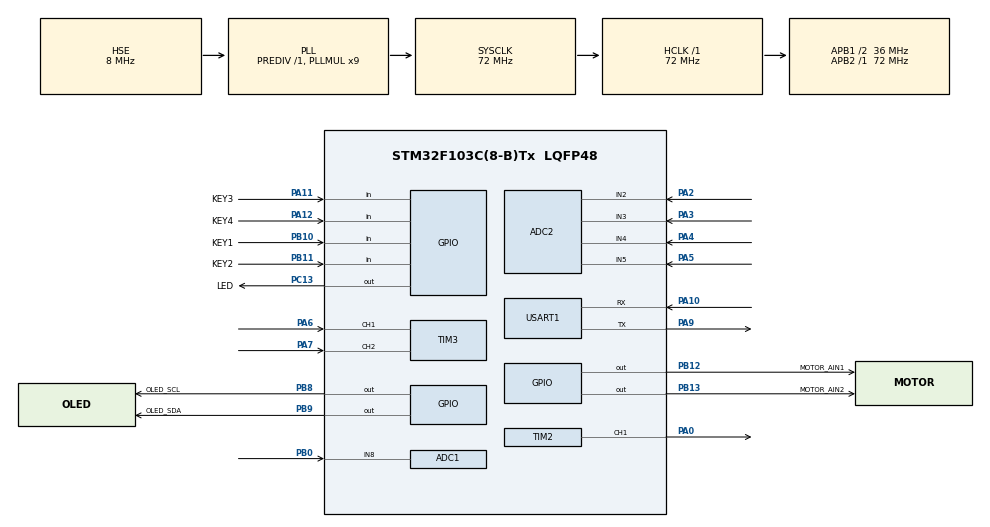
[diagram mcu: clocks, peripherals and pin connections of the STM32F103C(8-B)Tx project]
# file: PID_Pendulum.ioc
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ADC1.Channel-0\#ChannelRegularConversion=ADC_CHANNEL_8
ADC1.NbrOfConversionFlag=1
ADC1.Rank-0\#ChannelRegularConversion=1
ADC1.SamplingTime-0\#ChannelRegularConversion=ADC_SAMPLETIME_55CYCLES_5
ADC1.master=1
ADC2.Channel-0\#ChannelRegularConversion=ADC_CHANNEL_2
ADC2.Channel-1\#ChannelRegularConversion=ADC_CHANNEL_3
ADC2.Channel-2\#ChannelRegularConversion=ADC_CHANNEL_4
ADC2.Channel-3\#ChannelRegularConversion=ADC_CHANNEL_5
ADC2.NbrOfConversionFlag=1
ADC2.Rank-0\#ChannelRegularConversion=1
ADC2.Rank-1\#ChannelRegularConversion=2
ADC2.Rank-2\#ChannelRegularConversion=3
ADC2.Rank-3\#ChannelRegularConversion=4
ADC2.SamplingTime-0\#ChannelRegularConversion=ADC_SAMPLETIME_55CYCLES_5
ADC2.SamplingTime-1\#ChannelRegularConversion=ADC_SAMPLETIME_55CYCLES_5
ADC2.SamplingTime-2\#ChannelRegularConversion=ADC_SAMPLETIME_55CYCLES_5
ADC2.SamplingTime-3\#ChannelRegularConversion=ADC_SAMPLETIME_55CYCLES_5
Mcu.Family=STM32F1
Mcu.Name=STM32F103C(8-B)Tx
Mcu.Package=LQFP48
NVIC.PriorityGroup=NVIC_PRIORITYGROUP_4
NVIC.TIM1_UP_IRQn=true\:1\:0\:false\:false\:true\:true\:true\:true
NVIC.USART1_IRQn=true\:2\:0\:false\:false\:true\:true\:true\:true
PA0-WKUP.Signal=S_TIM2_CH1_ETR
PA10.Mode=Asynchronous
PA10.Signal=USART1_RX
PA11.GPIO_Label=KEY3
PA11.GPIO_PuPd=GPIO_PULLUP
PA11.Signal=GPIO_Input
PA12.GPIO_Label=KEY4
PA12.GPIO_PuPd=GPIO_PULLUP
PA12.Signal=GPIO_Input
PA13.Mode=Serial_Wire
PA13.Signal=SYS_JTMS-SWDIO
PA14.Mode=Serial_Wire
PA14.Signal=SYS_JTCK-SWCLK
PA2.Signal=ADCx_IN2
PA3.Signal=ADCx_IN3
PA4.Signal=ADCx_IN4
PA5.Signal=ADCx_IN5
PA6.GPIO_PuPd=GPIO_PULLUP
PA6.Signal=S_TIM3_CH1
PA7.GPIO_PuPd=GPIO_PULLUP
PA7.Signal=S_TIM3_CH2
PA9.Mode=Asynchronous
PA9.Signal=USART1_TX
PB0.Signal=ADCx_IN8
PB10.GPIO_Label=KEY1
PB10.GPIO_PuPd=GPIO_PULLUP
PB10.Signal=GPIO_Input
PB11.GPIO_Label=KEY2
PB11.GPIO_PuPd=GPIO_PULLUP
PB11.Signal=GPIO_Input
PB12.GPIO_Label=MOTOR_AIN1
PB12.GPIO_ModeDefaultOutputPP=GPIO_MODE_OUTPUT_PP
PB12.GPIO_PuPd=GPIO_NOPULL
PB12.GPIO_Speed=GPIO_SPEED_FREQ_LOW
PB12.Signal=GPIO_Output
PB13.GPIO_Label=MOTOR_AIN2
PB13.GPIO_ModeDefaultOutputPP=GPIO_MODE_OUTPUT_PP
PB13.GPIO_PuPd=GPIO_NOPULL
PB13.GPIO_Speed=GPIO_SPEED_FREQ_LOW
PB13.Signal=GPIO_Output
PB8.GPIO_Label=OLED_SCL
PB8.GPIO_ModeDefaultOutputPP=GPIO_MODE_OUTPUT_OD
PB8.GPIO_PuPd=GPIO_PULLUP
PB8.GPIO_Speed=GPIO_SPEED_FREQ_HIGH
PB8.Signal=GPIO_Output
PB9.GPIO_Label=OLED_SDA
PB9.GPIO_ModeDefaultOutputPP=GPIO_MODE_OUTPUT_OD
PB9.GPIO_PuPd=GPIO_PULLUP
PB9.GPIO_Speed=GPIO_SPEED_FREQ_HIGH
PB9.Signal=GPIO_Output
PC13-TAMPER-RTC.GPIO_Label=LED
PC13-TAMPER-RTC.Signal=GPIO_Output
PD0-OSC_IN.Mode=HSE-External-Oscillator
PD0-OSC_IN.Signal=RCC_OSC_IN
PD1-OSC_OUT.Mode=HSE-External-Oscillator
PD1-OSC_OUT.Signal=RCC_OSC_OUT
ProjectManager.HeapSize=0x200
ProjectManager.StackSize=0x400
ProjectManager.TargetToolchain=CMake
RCC.ADCCLKDivider=RCC_ADCCLK_DIV6
RCC.ADCPresc=RCC_ADCPCLK2_DIV6
RCC.AHBFreq_Value=72000000
RCC.APB1CLKDivider=RCC_HCLK_DIV2
RCC.APB1Freq_Value=36000000
RCC.APB1TimFreq_Value=72000000
RCC.APB2CLKDivider=RCC_HCLK_DIV1
RCC.APB2Freq_Value=72000000
RCC.APB2TimFreq_Value=72000000
RCC.HCLKFreq_Value=72000000
RCC.HSE_VALUE=8000000
RCC.PLLMUL=RCC_PLL_MUL9
RCC.PLLSourceVirtual=RCC_PLLSOURCE_HSE
RCC.SYSCLKFreq_VALUE=72000000
RCC.SYSCLKSource=RCC_SYSCLKSOURCE_PLLCLK
RCC.USBFreq_Value=72000000
RCC.VCOOutputFreq_Value=72000000
SH.ADCx_IN2.0=ADC2_IN2,IN2
SH.ADCx_IN3.0=ADC2_IN3,IN3
SH.ADCx_IN4.0=ADC2_IN4,IN4
SH.ADCx_IN5.0=ADC2_IN5,IN5
SH.ADCx_IN8.0=ADC1_IN8,IN8
SH.S_TIM2_CH1_ETR.0=TIM2_CH1,PWM Generation1 CH1
SH.S_TIM3_CH1.0=TIM3_CH1,Encoder_Interface
SH.S_TIM3_CH2.0=TIM3_CH2,Encoder_Interface
SYS.Debug=Serial_Wire
TIM1.Period=999
TIM1.Prescaler=71
TIM2.Channel-PWM\ Generation1\ CH1=TIM_CHANNEL_1
TIM2.Period=1799
TIM2.Prescaler=1
TIM3.EncoderMode=TIM_ENCODERMODE_TI12
TIM3.IC1Filter=15
TIM3.IC2Filter=15
TIM3.IC2Polarity=TIM_ICPOLARITY_FALLING
USART1.VirtualMode=VM_ASYNC
VP_TIM1_VS_ClockSourceINT.Mode=Internal
board=custom

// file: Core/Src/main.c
/* USER CODE BEGIN Header */
/**
  ******************************************************************************
  * @file           : main.c
  * @brief          : Main program body
  ******************************************************************************
  * @attention
  *
  * Copyright (c) 2026 STMicroelectronics.
  * All rights reserved.
  *
  * This software is licensed under terms that can be found in the LICENSE file
  * in the root directory of this software component.
  * If no LICENSE file comes with this software, it is provided AS-IS.
  *
  ******************************************************************************
  */
/* USER CODE END Header */
#include "main.h"

/* USER CODE BEGIN Includes */
#include "bsp_oled.h"
#include "ssd1306.h"
#include "ssd1306_fonts.h"

#include "bsp_tick.h"
#include "bsp_key.h"
#include "bsp_pot.h"
#include "bsp_serial.h"

/* 倒立摆三件套：电机、编码器、角度传感器 */
#include "bsp_motor.h"
#include "bsp_encoder.h"
#include "bsp_angle.h"

/* 双环 PID 控制器 + 串口调参控制台 */
#include "control.h"
#include "console.h"
/* USER CODE END Includes */

/* USER CODE BEGIN PD */
/*
 * 屏幕上各元素的位置（单位：像素）。
 *
 * 版式是**左右双列**（仿官方）：左列是内环（角度环），右列是外环（位置环），
 * 这样调参时一眼能看出「改的是哪个环、两个环现在各在干什么」。
 *
 * Font_6x8 宽 6 像素、屏宽 128，一行放得下 21 个字符。
 * 两列各占 10 个字符，第二列从第 11 个字符（x=66）开始。
 */
#define OLED_LINE_TITLE_Y       (0U)    /* 标题行，Font_7x10，占 0~9 */
#define OLED_COL0_X             (0U)    /* 左列：角度环 */
#define OLED_COL1_X             (66U)   /* 右列：位置环 */

/*
 * 数据行行距 8 像素 —— 刚好等于 Font_6x8 的字高，行间不留空隙。
 * 标题占 0~9，5 行数据从 12 开始：12~19、20~27、28~35、36~43、44~51，
 * 底部 54~61 留给按键提示。
 */
#define OLED_ROW_Y0             (12U)
#define OLED_ROW_STEP           (8U)

/* 按键提示行 */
#define OLED_HINT_Y             (54U)

/* 状态显示的位置（标题行右侧） */
#define OLED_STATE_X            (96U)

/* PC13 LED 心跳周期（毫秒） */
#define LED_HEARTBEAT_MS        (500U)

/*
 * 屏幕重画周期（毫秒）。
 *
 * ⚠️ 这个值不是「随便定个好看的数」，它直接决定主循环的最坏周期，
 *    进而决定串口命令的吞吐和 STREAM 的采样率。
 *
 *    **实测：刷一整屏要约 122 ms。**
 *    128×64 的显存是 1024 字节，全屏刷新是「整块重发」，走软件 I2C
 *    在约 100 kHz 下就是 1024×9 bit ÷ 100 kHz ≈ 92 ms，加上命令字节
 *    和函数开销正好落到这个量级。
 *
 *    （老注释里写的「约 30 ms」是错的，那个数对应约 300 kHz 的 I2C，
 *      这个软件 I2C 根本达不到。以此为准。）
 *
 *    于是这个周期**必须显著大于 122 ms**：等于或小于它的话，
 *    「距上次刷屏已过 N 毫秒」这个条件每次循环都立刻成立，
 *    主循环就退化成「刷屏、刷屏、刷屏……」的连续循环，
 *    周期被锁死在 122 ms，串口在这段时间里根本拿不到 CPU。
 *    实测：把这里设成 100 时，STREAM 从 50 行/秒掉到 8.2 行/秒。
 *
 *    取 500 ms：屏幕 2 Hz 刷新，人眼看着完全够（调参时盯的是数字
 *    对不对，不是动画）；主循环有约 75% 的时间是空闲的，
 *    STREAM 能跑到 40 行/秒上下，命令响应也在 120 ms 以内。
 *
 *    这里**不用死区判断**（老版本那套）：新界面里 Out 那两列每 5 ms
 *    都在变，死区永远成立，等于每轮主循环都重画 —— 正是要避免的情形。
 */
#define DISPLAY_PERIOD_MS       (500U)

/* 每次按 K2/K3 增减的位置目标步长（边沿）。408 = 横杆转一圈。 */
#define POS_TARGET_STEP         (408)

/*
 * 本台设备的中心角度 = 2086（2026-10-09 手扶实测）。
 *
 * 这个值现在已经搬到控制层去了（control.c 的 CONTROL_DEFAULT_CENTER），
 * 因为它属于「被控对象的标定」，不属于应用逻辑。想改中心角度有两条路：
 *   · 串口：`SET CENTER 2086`
 *   · 或改 control.c 的默认值（掉电后仍生效的那个）
 *
 * 标定依据（12.22 码/度、满量程 335° 与手册 333° 吻合、盲区说明）
 * 记在 control.h 的文件头里，那里才是它该在的地方。
 */
/* USER CODE END PD */

ADC_HandleTypeDef hadc1;
ADC_HandleTypeDef hadc2;

TIM_HandleTypeDef htim1;
TIM_HandleTypeDef htim2;
TIM_HandleTypeDef htim3;

UART_HandleTypeDef huart1;

/* USER CODE BEGIN PV */
/* OLED 设备实例（含 1 KB 显存），文件级静态，不占栈 */
static ssd1306_t s_oled;

/*
 * 现在**没有**「应用层运行状态」这个变量了。
 *
 * 老版本这里有一对 s_run / s_duty_cmd，因为那时应用层要自己拿捏
 * 「按 K1 切状态、把占空比写到电机」。现在这件事整个归 control 模块管
 * （它有自己的状态机和双环），main.c 只管转发按键和显示。
 *
 * 要紧的是**状态只有一份**：如果 main.c 再存一份 s_run，就和
 * control 内部那份成了两个真相，迟早会出现「屏幕显示 RUN、
 * 实际已经因为摔倒自动停机了」这种对不上的情况。
 * 需要的时候问 `control_is_running()` 就行。
 */
/* USER CODE END PV */

void SystemClock_Config(void);
static void MX_GPIO_Init(void);
static void MX_TIM1_Init(void);
static void MX_ADC2_Init(void);
static void MX_USART1_UART_Init(void);
static void MX_TIM2_Init(void);
static void MX_TIM3_Init(void);
static void MX_ADC1_Init(void);
/* USER CODE BEGIN PFP */
static uint8_t oled_u32_to_dec(uint32_t value, char *out);
static uint8_t oled_i32_to_dec(int32_t value, char *out);
static void    oled_cell(uint16_t x, uint16_t y, const char *label, int32_t value, uint8_t digits);
static void    oled_cell_f2(uint16_t x, uint16_t y, const char *label, float value);
static void    oled_redraw(void);
static void    app_pos_target_step(int32_t delta);
static void    app_handle_keys(void);
static void    app_refresh_display(void);
static void    app_fatal_blink(uint8_t code);
/* USER CODE END PFP */

/* USER CODE BEGIN 0 */
/**
  * @brief  把无符号整数按十进制转成字符串。
  * @param  value 待转换的值
  * @param  out   输出缓冲，调用者需保证至少 11 字节
  * @retval 写入的字符数（不含结尾 '\0'）
  * @note   不用 snprintf，避免为了显示一个数字把整套 printf 拖进 Flash。
  */
static uint8_t oled_u32_to_dec(uint32_t value, char *out)
{
  char    tmp[10];
  uint8_t n = 0U;

  if (value == 0U) {
    out[0] = '0';
    out[1] = '\0';
    return 1U;
  }

  /* 先逆序取各位，再翻回来 */
  while ((value > 0U) && (n < sizeof(tmp))) {
    tmp[n] = (char)('0' + (value % 10U));
    value /= 10U;
    n++;
  }

  for (uint8_t i = 0U; i < n; i++) {
    out[i] = tmp[n - 1U - i];
  }
  out[n] = '\0';

  return n;
}

/**
  * @brief  把有符号整数按十进制转成字符串（带负号）。
  * @param  value 待转换的值
  * @param  out   输出缓冲，调用者需保证至少 13 字节
  * @retval 写入的字符数（不含结尾 '\0'）
  * @note   用于编码器的位置/速度与电机占空比——这些量都有正负。
  */
static uint8_t oled_i32_to_dec(int32_t value, char *out)
{
  if (value < 0) {
    /*
     * 取绝对值时先 +1 再取反再加 1，避免对 INT32_MIN 直接取反溢出。
     * 本工程用不到这个极值，但这样写不需要额外的边界假设。
     */
    out[0] = '-';
    return (uint8_t)(1U + oled_u32_to_dec((uint32_t)(-(value + 1)) + 1U, &out[1]));
  }

  return oled_u32_to_dec((uint32_t)value, out);
}

/**
  * @brief  在任意坐标写一段以 '\0' 结尾的文本（统一用 Font_6x8）。
  * @param  x,y  左上角像素坐标
  * @note   一行 128 像素 / 每字符 6 像素 = **最多 21 个字符**，
  *         超出的部分会被 ssd1306_write_string 静默截断。
  */
static void oled_text(uint16_t x, uint16_t y, const char *text)
{
  (void)ssd1306_set_cursor(&s_oled, x, y);
  (void)ssd1306_write_string(&s_oled, text, &Font_6x8, SSD1306_WHITE);
}

/**
  * @brief  把浮点转成定点两位小数的字符串（如 "-1800.00"）。
  * @param  value 待转换的值
  * @param  out   输出缓冲，调用者需保证至少 13 字节
  * @retval 写入的字符数（不含结尾 '\0'）
  *
  * 屏幕上不显示浮点的原始精度：增益的有效位数就到百分位，
  * 多打几位只是让数字在跳，反而看不清。
  */
static uint8_t oled_f2_to_dec(float value, char *out)
{
  char     num[13];
  uint8_t  k = 0U;
  int32_t  cents;
  uint32_t mag;

  /* 防御：NaN 进去会让下面两个比较都不成立，cents 变成垃圾值。
   * 正常的增益不会走到这里（control_param_set 已经挡过）。 */
  if (value != value) {
    out[0] = 'n'; out[1] = 'a'; out[2] = 'n'; out[3] = '\0';
    return 3U;
  }

  /* 夹一下再乘 100：不夹的话 value*100 可能溢出 int32，是未定义行为 */
  if (value >  99999.0f) { value =  99999.0f; }
  if (value < -99999.0f) { value = -99999.0f; }

  /* 四舍五入到百分位。加 ±0.5 而不是用 roundf()，省一个库依赖。 */
  cents = (int32_t)((value * 100.0f) + ((value >= 0.0f) ? 0.5f : -0.5f));

  if (cents < 0) {
    out[k] = '-';
    k++;
  }

  /* 取相反数走 uint32 中转：int32 的 -(-2147483648) 会溢出 */
  mag = (cents < 0) ? ((uint32_t)(-(cents + 1)) + 1U) : (uint32_t)cents;

  (void)oled_u32_to_dec(mag / 100U, num);
  for (const char *p = num; *p != '\0'; p++) {
    out[k] = *p;
    k++;
  }

  out[k] = '.';                                   k++;
  out[k] = (char)('0' + ((mag % 100U) / 10U));    k++;
  out[k] = (char)('0' + (mag % 10U));             k++;
  out[k] = '\0';

  return k;
}

/**
  * @brief  写一个「3 字符标签 + 右对齐数值」的显示单元。
  * @param  x,y    单元左上角像素坐标
  * @param  label  标签，固定 3 个字符（如 "AKP"）
  * @param  value  数值
  * @param  digits 数值占的字符宽度，本界面统一用 7
  *
  * 整个单元固定 3+digits 个字符宽，左右两列各排一列。
  *
  * ⚠️ 数值**必须补齐**（右对齐），不能不足就让后面的内容左移 ——
  *    否则数值位数一变整行就会左右跳动，看起来像屏幕在抖，
  *    而且两列对不齐。这是显示代码里最常见的毛病。
  */
static void oled_cell(uint16_t x, uint16_t y, const char *label, int32_t value, uint8_t digits)
{
  char    num[13];
  char    msg[16];
  uint8_t k = 0U;
  uint8_t n;

  for (const char *p = label; *p != '\0'; p++) {
    msg[k] = *p;
    k++;
  }

  n = oled_i32_to_dec(value, num);

  for (uint8_t i = n; i < digits; i++) {
    msg[k] = ' ';
    k++;
  }
  for (uint8_t i = 0U; i < n; i++) {
    msg[k] = num[i];
    k++;
  }

  msg[k] = '\0';

  oled_text(x, y, msg);
}

/**
  * @brief  同 oled_cell，但数值是浮点、固定两位小数。
  *
  * 始终按 7 个字符宽补齐，所以和一个用 oled_cell 的单元排在同一列时
  * 也是对齐的。
  */
static void oled_cell_f2(uint16_t x, uint16_t y, const char *label, float value)
{
  char    num[13];
  char    msg[16];
  uint8_t k = 0U;
  uint8_t n;

  for (const char *p = label; *p != '\0'; p++) {
    msg[k] = *p;
    k++;
  }

  n = oled_f2_to_dec(value, num);

  for (uint8_t i = n; i < 7U; i++) {
    msg[k] = ' ';
    k++;
  }
  for (uint8_t i = 0U; i < n; i++) {
    msg[k] = num[i];
    k++;
  }

  msg[k] = '\0';

  oled_text(x, y, msg);
}

/**
  * @brief  整屏重画并按内容重新上屏。
  *
  * 版式（左右双列，左=内环角度环，右=外环位置环）：
  *
  *     Pendulum              RUN
  *     AKP   4.50   PKP   9.36
  *     AKI   0.16   PKI   0.18
  *     AKD   7.38   PKD  82.08
  *     Ang   2086   Loc      0
  *     ATr   2086   LTr      0
  *     AOu    123   POu   0.00
  *
  * **没有按键提示行**，是刻意的取舍：6 行数据已经把 64 像素的屏占满
  * （标题 0~9，数据 12~59），再挤一行提示就得砍掉一整行数据。
  * 而这一屏是为**调参**服务的，两个环的目标值比按键提示有用得多；
  * 按键功能在 README 和 docs/ 里都有。
  *
  * 整屏重画而不是只改变化的那一块：这个规模下更简单，也绝不会留残影
  * （比如数值从 1000 掉到 999 时旧的那一位干不掉）。代价是每次约 30 ms
  * 的 I2C 传输，所以调用它的频率由调用者把关（见 DISPLAY_PERIOD_MS）。
  */
static void oled_redraw(void)
{
  control_status_t        st;

  control_get_status(&st);

  ssd1306_fill(&s_oled, SSD1306_BLACK);

  /* 标题 + 运行状态。
   * 状态直接问 control 模块，不在 main 里另存一份 —— 见 PV 段的说明。
   *
   * 三态：STOP / RUN / SWG（自动启摆中）。这里**不能再用
   * control_is_running()** —— 它问的是"双环在不在跑"，启摆期间返回 false，
   * 屏上就会显示成 STOP，看着像没启动。用快照里的 state 才准。 */
  (void)ssd1306_set_cursor(&s_oled, 0U, OLED_LINE_TITLE_Y);
  (void)ssd1306_write_string(&s_oled, "Pendulum", &Font_7x10, SSD1306_WHITE);
  oled_text(OLED_STATE_X, OLED_LINE_TITLE_Y,
            (st.state == CONTROL_STATE_RUN)      ? "RUN" :
            (st.state == CONTROL_STATE_SWING_UP) ? "SWG" : "STOP");

  const uint16_t x0  = OLED_COL0_X;
  const uint16_t x1  = OLED_COL1_X;
  const uint16_t y0  = OLED_ROW_Y0;
  const uint16_t y1  = (uint16_t)(OLED_ROW_Y0 + (OLED_ROW_STEP * 1U));
  const uint16_t y2  = (uint16_t)(OLED_ROW_Y0 + (OLED_ROW_STEP * 2U));
  const uint16_t y3  = (uint16_t)(OLED_ROW_Y0 + (OLED_ROW_STEP * 3U));
  const uint16_t y4  = (uint16_t)(OLED_ROW_Y0 + (OLED_ROW_STEP * 4U));
  const uint16_t y5  = (uint16_t)(OLED_ROW_Y0 + (OLED_ROW_STEP * 5U));

  /* ① 三个增益 —— 调参时眼睛盯得最多的就是这几行。
   *    用 control_params() 拿的是**当前生效值**，和串口改的是同一份。 */
  const control_params_t *pp = control_params();

  oled_cell_f2(x0, y0, "AKP", pp->a_kp);
  oled_cell_f2(x1, y0, "PKP", pp->p_kp);
  oled_cell_f2(x0, y1, "AKI", pp->a_ki);
  oled_cell_f2(x1, y1, "PKI", pp->p_ki);
  oled_cell_f2(x0, y2, "AKD", pp->a_kd);
  oled_cell_f2(x1, y2, "PKD", pp->p_kd);

  /* ② 两个环的实测量。
   *    "Ang" 用 st.angle 而不是再采一次：取的是控制环**正在用的**
   *    那一个采样，显示和实际参与运算的完全一致。 */
  oled_cell(x0, y3, "Ang", (int32_t)st.angle, 7U);
  oled_cell(x1, y3, "Loc", st.position, 7U);

  /* ③ 两个环的目标值。
   *    ATr 在运行中会随外环输出微动 —— 那是正常的，正是串级结构
   *    在「挪动内环目标」。它一直等于 CENTER 反而说明外环没在干活。 */
  oled_cell(x0, y4, "ATr", (int32_t)st.angle_target, 7U);
  oled_cell(x1, y4, "LTr", control_position_target(), 7U);

  /* ④ 两个环的输出。
   *    AOu 是限幅后、**未叠静摩擦补偿**的值（补偿量见串口 GET OFFSET）；
   *    真正写到电机上的是 st.pwm，想看它就串口打 STAT。 */
  oled_cell(x0, y5, "AOu", (int32_t)st.angle_out, 7U);
  oled_cell_f2(x1, y5, "POu", st.pos_out);

  (void)ssd1306_update_screen(&s_oled);
}

/**
  * @brief  按步长移动位置目标，越界就**不动**（不是夹到边界）。
  *
  * 夹到边界的坏处：按到边界之后继续按没任何反馈，用户以为按键坏了。
  * 不动至少和「已经到头了」是一致的表现，而且控制台里 TARGET 命令
  * 会明确回 OUT_OF_RANGE。
  */
static void app_pos_target_step(int32_t delta)
{
  const int32_t target = control_position_target() + delta;

  if ((target >= -CONTROL_POS_TARGET_LIMIT) && (target <= CONTROL_POS_TARGET_LIMIT)) {
    (void)control_set_position_target(target);
  }
}

/**
  * @brief  处理按键事件。
  *
  * 按键分工（**改成了官方那套语义**）：
  *   K1 —— 启动 / 停止控制（启动时若摆杆不在竖直附近，会自动启摆）
  *   K2 —— 位置目标 +408（横杆正转一圈）
  *   K3 —— 位置目标 −408（横杆反转一圈）
  *   K4 —— 位置清零（位置计数与目标一起归零）并停机
  *
  * 老版本的 K2/K3 是「直接加减电机占空比」，那是纯驱动测试用的。
  * 有了闭环之后手动给占空比没有意义（控制环每 5 ms 就会覆盖掉），
  * 所以改成调位置目标。
  *
  * ⚠️ 每个键都要用 while 取干净，而不是 if 一次：一次完整的按放会
  *    同时挂起 PRESS 和 RELEASE 两个事件，只取一次会把 RELEASE 留下
  *    （见 bsp/key/bsp_key.h 的说明）。这里只响应按下沿。
  */
static void app_handle_keys(void)
{
  for (uint8_t i = 0U; i < (uint8_t)KEY_ID_COUNT; i++) {
    key_event_t ev;

    while ((ev = bsp_key_take_event((key_id_t)i)) != KEY_EVENT_NONE) {
      if (ev != KEY_EVENT_PRESS) {
        continue;                       /* 松开沿不处理 */
      }

      switch ((key_id_t)i) {
        case KEY_ID_K1:
          /* 非停止态（双环运行中 或 正在启摆）→ 停；停止态 → 启动。
           *
           * 启动用 control_swing_up() 而不是 control_start()：
           *   · 摆杆已经在竖直附近 → 它内部直接转成双环控制，行为与旧的
           *     K1 完全一样（扶着摆杆按 K1 的用法没变）；
           *   · 摆杆垂着 → 它自己去荡摆杆。以前这种情况是**静默失败**
           *     （control_start 返回 ERR_NOT_READY，屏幕上什么都不变），
           *     现在会自己荡起来。
           *
           * ⚠️ 判"停"必须连启摆一起算。`control_is_running()` 在启摆期间
           *    返回 false，只用它的话，**启摆中再按一次 K1 会变成"重新启摆"**
           *    而不是停止。所以这里看总状态 state。 */
          {
            control_status_t st;
            control_get_status(&st);

            if (st.state != CONTROL_STATE_STOP) {
              (void)control_stop();
            } else {
              (void)control_swing_up();
            }
          }
          break;

        case KEY_ID_K2:
          app_pos_target_step((int32_t)POS_TARGET_STEP);
          break;

        case KEY_ID_K3:
          app_pos_target_step(-(int32_t)POS_TARGET_STEP);
          break;

        case KEY_ID_K4:
          (void)control_zero_position();
          (void)control_stop();
          break;

        default:
          break;
      }
    }
  }
}

/**
  * @brief  按固定周期重画屏幕。
  *
  * 周期由 DISPLAY_PERIOD_MS 决定，**不按内容变化触发** —— 理由见那里的
  * 说明：新界面里 Out 那两列每 5 ms 都在变，任何死区都会永远成立，
  * 等于每轮主循环都重画，反而把主循环彻底堵死。
  */
static void app_refresh_display(void)
{
  static uint32_t last_ms = 0U;

  /*
   * STREAM 开着时**完全不刷屏**。
   *
   * 理由：刷一屏要 ~122 ms 的 CPU（见 DISPLAY_PERIOD_MS），这段时间里
   * console_poll() 拿不到 CPU，STREAM 的数据就会出现一个 122 ms 的空洞，
   * 采样率也从 50 掉到 38 行/秒。而上位机在画曲线的时候，屏幕根本没人在看。
   *
   * 所以串流期间把这 122 ms 全部让给串口 —— 换到的是**满速且等间距**的
   * 50 行/秒。这对 PID 调参是有实际价值的：曲线的横轴时间戳均匀，
   * 才能从波形的周期和衰减判断增益是否合适。
   *
   * 串流一关（STREAM 0），下一轮循环就恢复刷新，不用做别的动作。
   */
  if (console_is_streaming()) {
    return;
  }

  const uint32_t now_ms = HAL_GetTick();
  if ((now_ms - last_ms) < DISPLAY_PERIOD_MS) {
    return;
  }
  last_ms = now_ms;

  oled_redraw();
}

/**
  * @brief  初始化失败时的错误指示：快闪 code 次，停 1 秒，循环。
  *
  * 闪烁次数对应失败的模块，便于不用调试器就定位问题：
  *   1 次 = OLED（bsp_oled_init 失败，屏没应答）
  *   2 次 = 系统节拍（bsp_tick_init 失败）
  *   3 次 = 按键（bsp_key_init 失败）
  *   4 次 = 电位器（bsp_pot_init 失败，ADC 自校准没成功）
  *   5 次 = 串口（bsp_serial_init 失败，接收中断没武装上）
  *   6 次 = 电机（bsp_motor_init 失败，PWM 没启动起来）
  *   7 次 = 编码器（bsp_encoder_init 失败）
  *   8 次 = 角度传感器（bsp_angle_init 失败，ADC1 自校准没成功）
  *   9 次 = 节拍任务注册失败（槽位满了，见 BSP_TICK_MAX_HANDLERS）
  *  10 次 = 控制器（control_init 失败）
  *  11 次 = 串口控制台（console_init 失败）
  *
  * @note 本函数不返回。
  */
static void app_fatal_blink(uint8_t code)
{
  while (1) {
    for (uint8_t i = 0U; i < code; i++) {
      HAL_GPIO_TogglePin(LED_GPIO_Port, LED_Pin);
      HAL_Delay(120);
      HAL_GPIO_TogglePin(LED_GPIO_Port, LED_Pin);
      HAL_Delay(120);
    }
    HAL_Delay(1000);
  }
}
/* USER CODE END 0 */

int main(void)
{

  /* MCU Configuration--------------------------------------------------------*/

  /* Reset of all peripherals, Initializes the Flash interface and the Systick. */
  HAL_Init();

  /* Configure the system clock */
  SystemClock_Config();

  /* Initialize all configured peripherals */
  MX_GPIO_Init();
  MX_TIM1_Init();
  MX_ADC2_Init();
  MX_USART1_UART_Init();
  MX_TIM2_Init();
  MX_TIM3_Init();
  MX_ADC1_Init();
  /* USER CODE BEGIN 2 */
  /* OLED 挂在 PB8(SCL)/PB9(SDA)，走软件模拟 I2C，由 bsp_oled 自行接管引脚 */
  if (bsp_oled_init(&s_oled) != ERR_OK) {
    app_fatal_blink(1U);
  }

  /*
   * 初始化顺序有依赖：先把 1 ms 节拍跑起来，按键才能把自己的采样挂上去。
   * 反过来会注册失败（此时还没有节拍可挂）。
   */
  if (bsp_tick_init() != ERR_OK) {
    app_fatal_blink(2U);
  }
  if (bsp_key_init() != ERR_OK) {
    app_fatal_blink(3U);
  }

  /*
   * 电位器走 ADC2（把 ADC1 留给后面的模块）。
   * 必须在 CubeMX 生成的 MX_ADC2_Init() 之后调用——
   * 那边才把通道、采样时间、扫描模式写进寄存器。
   */
  if (bsp_pot_init() != ERR_OK) {
    app_fatal_blink(4U);
  }

  /*
   * 串口。必须在 CubeMX 生成的 MX_USART1_UART_Init() 之后调用——
   * 那边才把波特率、字长、校验这些寄存器配置写下去，
   * 本模块只负责把接收中断武装起来。
   */
  if (bsp_serial_init() != ERR_OK) {
    app_fatal_blink(5U);
  }

  /*
   * ── 倒立摆三件套 ──────────────────────────────────────────────
   * 顺序有讲究：先电机、再编码器、最后角度传感器。
   *
   * 电机最先，是因为它的初始化会把占空比置 0、方向脚置 0——
   * 也就是「上电不转」。这一步越早做，摆杆在初始化期间被动到的
   * 可能性越小。
   *
   * 三者都必须在 CubeMX 生成的 MX_TIM2_Init() / MX_TIM3_Init() /
   * MX_ADC1_Init() 之后调用（那三个函数在 main 开头已经调过）。
   */
  if (bsp_motor_init() != ERR_OK) {
    app_fatal_blink(6U);
  }
  if (bsp_encoder_init() != ERR_OK) {
    app_fatal_blink(7U);
  }
  if (bsp_angle_init() != ERR_OK) {
    app_fatal_blink(8U);
  }

  /*
   * 控制器。必须在三个驱动都初始化之后 —— control_init() 会读一次
   * 角度和编码器来对齐内部快照，驱动没起来的话读到的是 0。
   */
  if (control_init() != ERR_OK) {
    app_fatal_blink(10U);
  }

  /*
   * 串口控制台（调参协议）。只是个协议层，不碰 USART 寄存器，
   * 但要在 bsp_serial_init() 之后。
   */
  if (console_init() != ERR_OK) {
    app_fatal_blink(11U);
  }

  /*
   * ── 把控制环挂到 1 ms 节拍上 ──────────────────────────────────
   *
   * 这是本工程**唯一**挂在节拍上的任务（按键模块自己也占一个槽位）。
   *
   * ⚠️ 控制环为什么必须在中断里、不能留在主循环：
   *    主循环里刷一次屏要 ~30 ms 的软件 I2C，而角度环的周期是 5 ms。
   *    放在主循环里，角度环的实际周期会在 5~35 ms 之间乱跳 ——
   *    等于给控制器灌了一路巨大的周期噪声，摆杆根本立不住。
   *    挂在节拍上才有稳定的 5 ms / 50 ms。
   *
   * 主循环剩下的都是对时间不敏感的事：按键、串口、显示。
   */
  if (bsp_tick_register(control_tick) != ERR_OK) {
    app_fatal_blink(9U);
  }

  /*
   * 画一次初始界面。
   * 控制器此刻是 STOP，电机已经被 control_init() 置成滑行 ——
   * 上电时摆杆应该是静止下垂的，这一刻不能有任何动作。
   */
  oled_redraw();

  uint32_t last_led_ms = HAL_GetTick();
  /* USER CODE END 2 */

  /* Infinite loop */
  while (1)
  {

    /* USER CODE BEGIN 3 */
    /*
     * 前台主循环：按键、串口、显示、心跳灯。
     *
     * 注意这里**没有 HAL_Delay**。在循环里死等会让所有周期性动作
     * 互相拖累（比如屏幕每 30 ms 刷一次，若用延时来定时，
     * 串口的处理周期就变成了「30 ms + 延时」）。
     * 所以一律用「查时间、时间到了才做」的非阻塞写法。
     *
     * ⚠️ 主循环里**没有**「把控制结果写到电机」这一步：那是
     *    control_tick() 在中断里做的。主循环里再写一次只会和它打架。
     *    同理也没有角度采样 —— 采样在中断里按 1 ms 恒定节奏做，
     *    这里是 5~35 ms 的抖动节奏，采出来的值不能用。
     */
    console_poll();
    app_handle_keys();
    app_refresh_display();

    const uint32_t now_ms = HAL_GetTick();
    if ((now_ms - last_led_ms) >= LED_HEARTBEAT_MS) {
      last_led_ms = now_ms;
      HAL_GPIO_TogglePin(LED_GPIO_Port, LED_Pin);
    }
  }
  /* USER CODE END 3 */
}

void SystemClock_Config(void)
{
  RCC_OscInitTypeDef RCC_OscInitStruct = {0};
  RCC_ClkInitTypeDef RCC_ClkInitStruct = {0};
  RCC_PeriphCLKInitTypeDef PeriphClkInit = {0};

  /** Initializes the RCC Oscillators according to the specified parameters
  * in the RCC_OscInitTypeDef structure.
  */
  RCC_OscInitStruct.OscillatorType = RCC_OSCILLATORTYPE_HSE;
  RCC_OscInitStruct.HSEState = RCC_HSE_ON;
  RCC_OscInitStruct.HSEPredivValue = RCC_HSE_PREDIV_DIV1;
  RCC_OscInitStruct.HSIState = RCC_HSI_ON;
  RCC_OscInitStruct.PLL.PLLState = RCC_PLL_ON;
  RCC_OscInitStruct.PLL.PLLSource = RCC_PLLSOURCE_HSE;
  RCC_OscInitStruct.PLL.PLLMUL = RCC_PLL_MUL9;
  if (HAL_RCC_OscConfig(&RCC_OscInitStruct) != HAL_OK)
  {
    Error_Handler();
  }

  /** Initializes the CPU, AHB and APB buses clocks
  */
  RCC_ClkInitStruct.ClockType = RCC_CLOCKTYPE_HCLK|RCC_CLOCKTYPE_SYSCLK
                              |RCC_CLOCKTYPE_PCLK1|RCC_CLOCKTYPE_PCLK2;
  RCC_ClkInitStruct.SYSCLKSource = RCC_SYSCLKSOURCE_PLLCLK;
  RCC_ClkInitStruct.AHBCLKDivider = RCC_SYSCLK_DIV1;
  RCC_ClkInitStruct.APB1CLKDivider = RCC_HCLK_DIV2;
  RCC_ClkInitStruct.APB2CLKDivider = RCC_HCLK_DIV1;

  if (HAL_RCC_ClockConfig(&RCC_ClkInitStruct, FLASH_LATENCY_2) != HAL_OK)
  {
    Error_Handler();
  }
  PeriphClkInit.PeriphClockSelection = RCC_PERIPHCLK_ADC;
  PeriphClkInit.AdcClockSelection = RCC_ADCPCLK2_DIV6;
  if (HAL_RCCEx_PeriphCLKConfig(&PeriphClkInit) != HAL_OK)
  {
    Error_Handler();
  }
}

static void MX_ADC1_Init(void)
{

  ADC_ChannelConfTypeDef sConfig = {0};

  /** Common config
  */
  hadc1.Instance = ADC1;
  hadc1.Init.ScanConvMode = ADC_SCAN_DISABLE;
  hadc1.Init.ContinuousConvMode = DISABLE;
  hadc1.Init.DiscontinuousConvMode = DISABLE;
  hadc1.Init.ExternalTrigConv = ADC_SOFTWARE_START;
  hadc1.Init.DataAlign = ADC_DATAALIGN_RIGHT;
  hadc1.Init.NbrOfConversion = 1;
  if (HAL_ADC_Init(&hadc1) != HAL_OK)
  {
    Error_Handler();
  }

  /** Configure Regular Channel
  */
  sConfig.Channel = ADC_CHANNEL_8;
  sConfig.Rank = ADC_REGULAR_RANK_1;
  sConfig.SamplingTime = ADC_SAMPLETIME_55CYCLES_5;
  if (HAL_ADC_ConfigChannel(&hadc1, &sConfig) != HAL_OK)
  {
    Error_Handler();
  }

}

static void MX_ADC2_Init(void)
{

  ADC_ChannelConfTypeDef sConfig = {0};

  /** Common config
  */
  hadc2.Instance = ADC2;
  hadc2.Init.ScanConvMode = ADC_SCAN_DISABLE;
  hadc2.Init.ContinuousConvMode = DISABLE;
  hadc2.Init.DiscontinuousConvMode = DISABLE;
  hadc2.Init.ExternalTrigConv = ADC_SOFTWARE_START;
  hadc2.Init.DataAlign = ADC_DATAALIGN_RIGHT;
  hadc2.Init.NbrOfConversion = 1;
  if (HAL_ADC_Init(&hadc2) != HAL_OK)
  {
    Error_Handler();
  }

  /** Configure Regular Channel
  */
  sConfig.Channel = ADC_CHANNEL_2;
  sConfig.Rank = ADC_REGULAR_RANK_1;
  sConfig.SamplingTime = ADC_SAMPLETIME_55CYCLES_5;
  if (HAL_ADC_ConfigChannel(&hadc2, &sConfig) != HAL_OK)
  {
    Error_Handler();
  }

  /** Configure Regular Channel
  */
  sConfig.Channel = ADC_CHANNEL_3;
  sConfig.Rank = ADC_REGULAR_RANK_2;
  if (HAL_ADC_ConfigChannel(&hadc2, &sConfig) != HAL_OK)
  {
    Error_Handler();
  }

  /** Configure Regular Channel
  */
  sConfig.Channel = ADC_CHANNEL_4;
  sConfig.Rank = ADC_REGULAR_RANK_3;
  if (HAL_ADC_ConfigChannel(&hadc2, &sConfig) != HAL_OK)
  {
    Error_Handler();
  }

  /** Configure Regular Channel
  */
  sConfig.Channel = ADC_CHANNEL_5;
  sConfig.Rank = ADC_REGULAR_RANK_4;
  if (HAL_ADC_ConfigChannel(&hadc2, &sConfig) != HAL_OK)
  {
    Error_Handler();
  }

}

static void MX_TIM1_Init(void)
{

  TIM_ClockConfigTypeDef sClockSourceConfig = {0};
  TIM_MasterConfigTypeDef sMasterConfig = {0};

  htim1.Instance = TIM1;
  htim1.Init.Prescaler = 71;
  htim1.Init.CounterMode = TIM_COUNTERMODE_UP;
  htim1.Init.Period = 999;
  htim1.Init.ClockDivision = TIM_CLOCKDIVISION_DIV1;
  htim1.Init.RepetitionCounter = 0;
  htim1.Init.AutoReloadPreload = TIM_AUTORELOAD_PRELOAD_DISABLE;
  if (HAL_TIM_Base_Init(&htim1) != HAL_OK)
  {
    Error_Handler();
  }
  sClockSourceConfig.ClockSource = TIM_CLOCKSOURCE_INTERNAL;
  if (HAL_TIM_ConfigClockSource(&htim1, &sClockSourceConfig) != HAL_OK)
  {
    Error_Handler();
  }
  sMasterConfig.MasterOutputTrigger = TIM_TRGO_RESET;
  sMasterConfig.MasterSlaveMode = TIM_MASTERSLAVEMODE_DISABLE;
  if (HAL_TIMEx_MasterConfigSynchronization(&htim1, &sMasterConfig) != HAL_OK)
  {
    Error_Handler();
  }

}

static void MX_TIM2_Init(void)
{

  TIM_MasterConfigTypeDef sMasterConfig = {0};
  TIM_OC_InitTypeDef sConfigOC = {0};

  htim2.Instance = TIM2;
  htim2.Init.Prescaler = 1;
  htim2.Init.CounterMode = TIM_COUNTERMODE_UP;
  htim2.Init.Period = 1799;
  htim2.Init.ClockDivision = TIM_CLOCKDIVISION_DIV1;
  htim2.Init.AutoReloadPreload = TIM_AUTORELOAD_PRELOAD_DISABLE;
  if (HAL_TIM_PWM_Init(&htim2) != HAL_OK)
  {
    Error_Handler();
  }
  sMasterConfig.MasterOutputTrigger = TIM_TRGO_RESET;
  sMasterConfig.MasterSlaveMode = TIM_MASTERSLAVEMODE_DISABLE;
  if (HAL_TIMEx_MasterConfigSynchronization(&htim2, &sMasterConfig) != HAL_OK)
  {
    Error_Handler();
  }
  sConfigOC.OCMode = TIM_OCMODE_PWM1;
  sConfigOC.Pulse = 0;
  sConfigOC.OCPolarity = TIM_OCPOLARITY_HIGH;
  sConfigOC.OCFastMode = TIM_OCFAST_DISABLE;
  if (HAL_TIM_PWM_ConfigChannel(&htim2, &sConfigOC, TIM_CHANNEL_1) != HAL_OK)
  {
    Error_Handler();
  }
  HAL_TIM_MspPostInit(&htim2);

}

static void MX_TIM3_Init(void)
{

  TIM_Encoder_InitTypeDef sConfig = {0};
  TIM_MasterConfigTypeDef sMasterConfig = {0};

  htim3.Instance = TIM3;
  htim3.Init.Prescaler = 0;
  htim3.Init.CounterMode = TIM_COUNTERMODE_UP;
  htim3.Init.Period = 65535;
  htim3.Init.ClockDivision = TIM_CLOCKDIVISION_DIV1;
  htim3.Init.AutoReloadPreload = TIM_AUTORELOAD_PRELOAD_DISABLE;
  sConfig.EncoderMode = TIM_ENCODERMODE_TI12;
  sConfig.IC1Polarity = TIM_ICPOLARITY_RISING;
  sConfig.IC1Selection = TIM_ICSELECTION_DIRECTTI;
  sConfig.IC1Prescaler = TIM_ICPSC_DIV1;
  sConfig.IC1Filter = 15;
  sConfig.IC2Polarity = TIM_ICPOLARITY_FALLING;
  sConfig.IC2Selection = TIM_ICSELECTION_DIRECTTI;
  sConfig.IC2Prescaler = TIM_ICPSC_DIV1;
  sConfig.IC2Filter = 15;
  if (HAL_TIM_Encoder_Init(&htim3, &sConfig) != HAL_OK)
  {
    Error_Handler();
  }
  sMasterConfig.MasterOutputTrigger = TIM_TRGO_RESET;
  sMasterConfig.MasterSlaveMode = TIM_MASTERSLAVEMODE_DISABLE;
  if (HAL_TIMEx_MasterConfigSynchronization(&htim3, &sMasterConfig) != HAL_OK)
  {
    Error_Handler();
  }

}

static void MX_USART1_UART_Init(void)
{

  huart1.Instance = USART1;
  huart1.Init.BaudRate = 115200;
  huart1.Init.WordLength = UART_WORDLENGTH_8B;
  huart1.Init.StopBits = UART_STOPBITS_1;
  huart1.Init.Parity = UART_PARITY_NONE;
  huart1.Init.Mode = UART_MODE_TX_RX;
  huart1.Init.HwFlowCtl = UART_HWCONTROL_NONE;
  huart1.Init.OverSampling = UART_OVERSAMPLING_16;
  if (HAL_UART_Init(&huart1) != HAL_OK)
  {
    Error_Handler();
  }

}

static void MX_GPIO_Init(void)
{
  GPIO_InitTypeDef GPIO_InitStruct = {0};

  /* GPIO Ports Clock Enable */
  __HAL_RCC_GPIOC_CLK_ENABLE();
  __HAL_RCC_GPIOD_CLK_ENABLE();
  __HAL_RCC_GPIOA_CLK_ENABLE();
  __HAL_RCC_GPIOB_CLK_ENABLE();

  /*Configure GPIO pin Output Level */
  HAL_GPIO_WritePin(LED_GPIO_Port, LED_Pin, GPIO_PIN_RESET);

  /*Configure GPIO pin Output Level */
  HAL_GPIO_WritePin(GPIOB, MOTOR_AIN1_Pin|MOTOR_AIN2_Pin|OLED_SCL_Pin|OLED_SDA_Pin, GPIO_PIN_RESET);

  /*Configure GPIO pin : LED_Pin */
  GPIO_InitStruct.Pin = LED_Pin;
  GPIO_InitStruct.Mode = GPIO_MODE_OUTPUT_PP;
  GPIO_InitStruct.Pull = GPIO_NOPULL;
  GPIO_InitStruct.Speed = GPIO_SPEED_FREQ_LOW;
  HAL_GPIO_Init(LED_GPIO_Port, &GPIO_InitStruct);

  /*Configure GPIO pins : KEY1_Pin KEY2_Pin */
  GPIO_InitStruct.Pin = KEY1_Pin|KEY2_Pin;
  GPIO_InitStruct.Mode = GPIO_MODE_INPUT;
  GPIO_InitStruct.Pull = GPIO_PULLUP;
  HAL_GPIO_Init(GPIOB, &GPIO_InitStruct);

  /*Configure GPIO pins : MOTOR_AIN1_Pin MOTOR_AIN2_Pin */
  GPIO_InitStruct.Pin = MOTOR_AIN1_Pin|MOTOR_AIN2_Pin;
  GPIO_InitStruct.Mode = GPIO_MODE_OUTPUT_PP;
  GPIO_InitStruct.Pull = GPIO_NOPULL;
  GPIO_InitStruct.Speed = GPIO_SPEED_FREQ_LOW;
  HAL_GPIO_Init(GPIOB, &GPIO_InitStruct);

  /*Configure GPIO pins : KEY3_Pin KEY4_Pin */
  GPIO_InitStruct.Pin = KEY3_Pin|KEY4_Pin;
  GPIO_InitStruct.Mode = GPIO_MODE_INPUT;
  GPIO_InitStruct.Pull = GPIO_PULLUP;
  HAL_GPIO_Init(GPIOA, &GPIO_InitStruct);

  /*Configure GPIO pins : OLED_SCL_Pin OLED_SDA_Pin */
  GPIO_InitStruct.Pin = OLED_SCL_Pin|OLED_SDA_Pin;
  GPIO_InitStruct.Mode = GPIO_MODE_OUTPUT_OD;
  GPIO_InitStruct.Pull = GPIO_PULLUP;
  GPIO_InitStruct.Speed = GPIO_SPEED_FREQ_HIGH;
  HAL_GPIO_Init(GPIOB, &GPIO_InitStruct);

}

void Error_Handler(void)
{
  __disable_irq();
  while (1)
  {
  }
}
